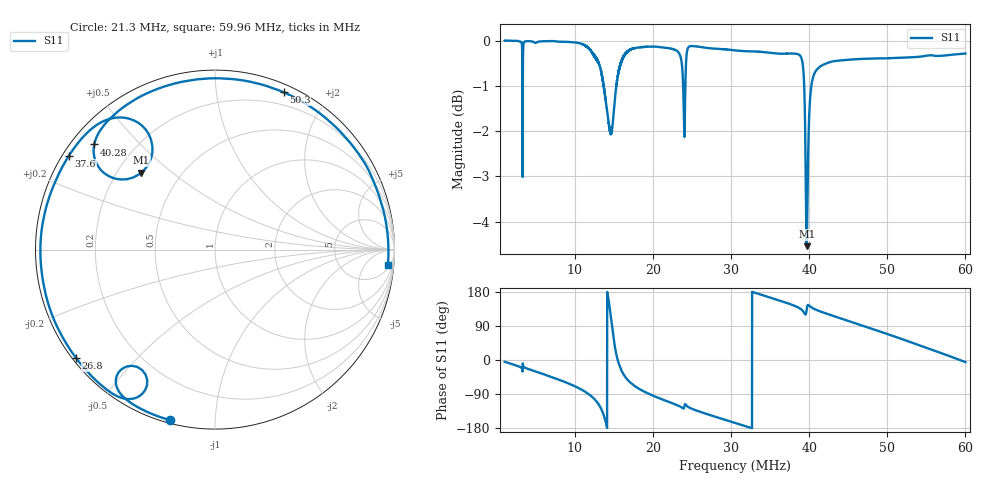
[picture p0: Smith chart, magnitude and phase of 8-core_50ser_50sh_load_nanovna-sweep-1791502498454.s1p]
! NanoVNA Web complex sweep
! Processing: unaveraged complex samples; linear segment spacing; no smoothing
# Hz S RI R 50
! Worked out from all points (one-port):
!   5050 points, 1 MHz to 60 MHz, reference 50 ohm
!   lowest |S11| = -4.5 dB at 39.68 MHz (marker M1), VSWR 3.91, Z = 14.9 + j19.7 ohm
!   |S11| at or under -10 dB: nowhere
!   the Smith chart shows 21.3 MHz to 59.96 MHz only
!   S11 on the Smith chart (normalised r, x): 21.3 MHz: 0.01, -0.77; 26.8 MHz: 0.01, -0.34; 37.6 MHz: 0.02, +0.29; 40.28 MHz: 0.06, +0.37; 50.3 MHz: 0.07, +1.52; 59.96 MHz: 7, -19
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1000000  0.9969 -0.0797
8384920  0.5683 -0.8193
1.083877e7  0.2059 -0.9701
1.259152e7  -0.2474 -0.925
1.343284e7  -0.6142 -0.6806
1.404046e7  -0.8372 -0.1282
1.439101e7  -0.6763 0.4361
1.47883e7  0.0988 0.797
1.524402e7  0.8215 0.3188
1.575816e7  0.8937 -0.2856
1.643588e7  0.6894 -0.6757
1.741742e7  0.4128 -0.8887
2.129684e7  -0.253 -0.9495
2.313139e7  -0.4788 -0.8473
2.424146e7  -0.4601 -0.8311
2.680048e7  -0.7735 -0.6047
3.050462e7  -0.9469 -0.2343
3.759742e7  -0.8134 0.5238
3.787786e7  -0.7931 0.5542
3.919826e7  -0.5935 0.7262
3.967735e7  -0.4097 0.4283
4.028497e7  -0.6727 0.5859
4.52511e7  -0.188 0.934
5.029902e7  0.3817 0.8768
5.262433e7  0.6169 0.733
5.628174e7  0.8861 0.3736
5.996251e7  0.9636 -0.0881
5.999756e7  0.9632 -0.0926
